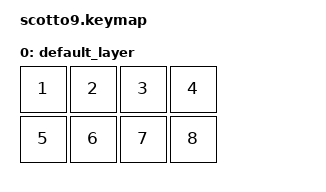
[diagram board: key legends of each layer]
#include <behaviors.dtsi>
#include <dt-bindings/zmk/keys.h>

/ {
    keymap {
        compatible = "zmk,keymap";

        default_layer {
            // 4x2 layout, numbered 1–8:
            //
            // ┌───┬───┬───┬───┐
            // │ 1 │ 2 │ 3 │ 4 │  ← Top row
            // ├───┼───┼───┼───┤
            // │ 5 │ 6 │ 7 │ 8 │  ← Bottom row
            // └───┴───┴───┴───┘
            bindings = <
                &kp N1  &kp N2  &kp N3  &kp N4
                &kp N5  &kp N6  &kp N7  &kp N8
            >;
        };
    };
};
